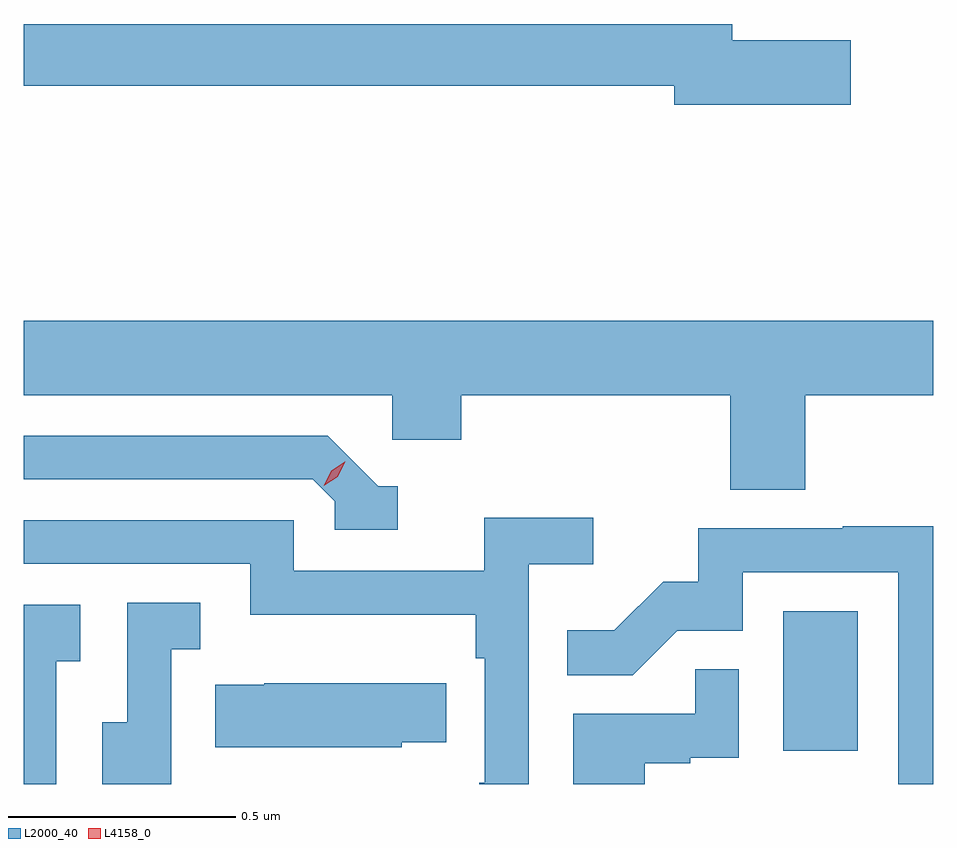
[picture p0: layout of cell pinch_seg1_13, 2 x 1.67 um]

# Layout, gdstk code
import gdstk
lib = gdstk.Library(unit=1e-6, precision=1e-09)
def R(c, l, rs):  # rectangles x0, y0, x1, y1
    for r in rs: c.add(gdstk.rectangle(r[:2], r[2:], *l))
def P(c, l, *ps):  # polygons
    for p in ps: c.add(gdstk.Polygon(p, *l))
L2000_40 = (2000, 40)
L4158_0 = (4158, 0)

pinch_seg1_13 = lib.new_cell('pinch_seg1_13')
R(pinch_seg1_13, L2000_40, [(1122.848,572.262,1123.012,572.569)])
P(pinch_seg1_13, L2000_40, [(1122.997,573.824),(1122.736,573.824),(1122.736,573.86),(1121.178,573.86),(1121.178,573.724),(1122.608,573.724),(1122.608,573.682),(1122.997,573.682)],
  [(1122.896,573.044),(1123.178,573.044),(1123.178,573.208),(1121.178,573.208),(1121.178,573.044),(1121.988,573.044),(1121.988,572.946),(1122.14,572.946),(1122.14,573.044),(1122.731,573.044),(1122.731,572.836),(1122.896,572.836)],
  [(1122.001,572.844),(1121.958,572.844),(1121.847,572.955),(1121.178,572.955),(1121.178,572.859),(1121.814,572.859),(1121.862,572.811),(1121.862,572.748),(1122.001,572.748)],
  [(1122.288,572.672),(1122.43,572.672),(1122.43,572.774),(1122.191,572.774),(1122.191,572.658),(1121.772,572.658),(1121.772,572.769),(1121.178,572.769),(1121.178,572.673),(1121.676,572.673),(1121.676,572.561),(1122.172,572.561),(1122.172,572.465),(1122.192,572.465),(1122.192,572.192),(1122.18,572.192),(1122.18,572.189),(1122.288,572.189)],
  [(1123.178,572.756),(1122.979,572.756),(1122.979,572.751),(1122.661,572.751),(1122.661,572.634),(1122.584,572.634),(1122.477,572.527),(1122.373,572.527),(1122.373,572.428),(1122.517,572.428),(1122.615,572.526),(1122.759,572.526),(1122.759,572.655),(1123.101,572.655),(1123.101,572.189),(1123.178,572.189)],
  [(1121.502,572.485),(1121.566,572.485),(1121.566,572.588),(1121.406,572.588),(1121.406,572.325),(1121.351,572.325),(1121.351,572.189),(1121.502,572.189)],
  [(1121.25,572.459),(1121.302,572.459),(1121.302,572.583),(1121.178,572.583),(1121.178,572.189),(1121.25,572.189)],
  [(1122.544,572.235),(1122.644,572.235),(1122.644,572.247),(1122.75,572.247),(1122.75,572.441),(1122.655,572.441),(1122.655,572.343),(1122.386,572.343),(1122.386,572.189),(1122.544,572.189)],
  [(1122.009,572.281),(1122.107,572.281),(1122.107,572.41),(1121.707,572.41),(1121.707,572.407),(1121.599,572.407),(1121.599,572.27),(1122.009,572.27)])
P(pinch_seg1_13, L4158_0, [(1121.838,572.845),(1121.838,572.845),(1121.854,572.878),(1121.884,572.897),(1121.885,572.897),(1121.885,572.897),(1121.869,572.864),(1121.838,572.845)])

lib.write_gds('pinch_seg1_13.gds')
